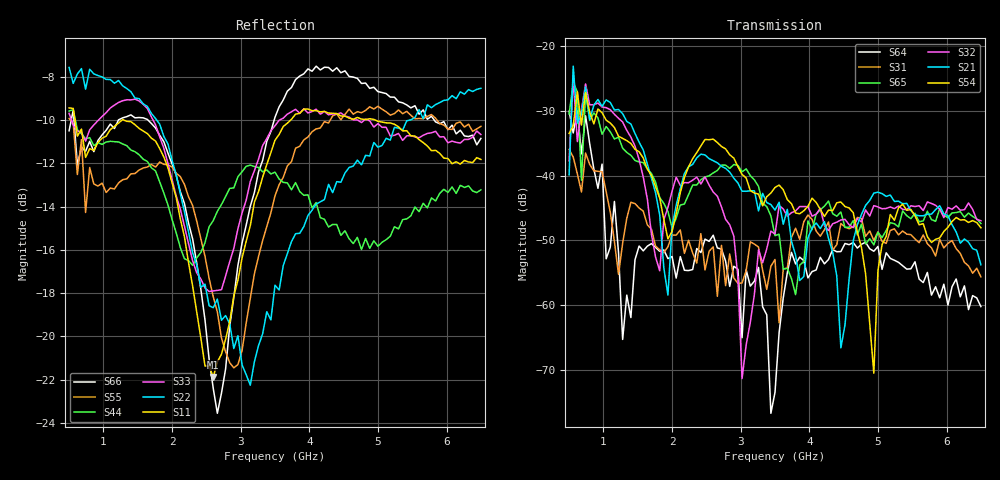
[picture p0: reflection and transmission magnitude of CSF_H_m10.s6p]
!Keysight Technologies,M9804A,MY58100912,A.14.10.03
!Date: Thursday, April 27, 2023 10:28:33
!Correction: S11(C  6-Port  )
!S12(C  6-Port  )
!S13(C  6-Port  )
!S14(C  6-Port  )
!S15(C  6-Port  )
!S16(C  6-Port  )
!S21(C  6-Port  )
!S22(C  6-Port  )
!S23(C  6-Port  )
!S24(C  6-Port  )
!S25(C  6-Port  )
!S26(C  6-Port  )
!S31(C  6-Port  )
!S32(C  6-Port  )
!S33(C  6-Port  )
!S34(C  6-Port  )
!S35(C  6-Port  )
!S36(C  6-Port  )
!S41(C  6-Port  )
!S42(C  6-Port  )
!S43(C  6-Port  )
!S44(C  6-Port  )
!S45(C  6-Port  )
!S46(C  6-Port  )
!S51(C  6-Port  )
!S52(C  6-Port  )
!S53(C  6-Port  )
!S54(C  6-Port  )
!S55(C  6-Port  )
!S56(C  6-Port  )
!S61(C  6-Port  )
!S62(C  6-Port  )
!S63(C  6-Port  )
!S64(C  6-Port  )
!S65(C  6-Port  )
!S66(C  6-Port  )
!S6P File: Measurement: :
# Hz S  RI  R 50
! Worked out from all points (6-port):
!   101 points, 500 MHz to 6.5 GHz, reference 50 ohm
!   strongest paths, dB at 500 MHz, 2 GHz, 3.5 GHz, 5 GHz, 6.5 GHz:
!     S54: -33.5, -48.6, -41.8, -54.7, -48.1
!     S21: -39.9, -47.8, -45.3, -42.6, -53.8
!     S32: -37.7, -42.4, -49.0, -44.8, -47.0
!     S65: -30.5, -48.1, -49.3, -48.8, -47.4
!     S31: -36.0, -49.2, -53.0, -48.7, -55.6
!     S64: -30.0, -52.5, -73.5, -50.9, -60.2
!   lowest |S11| = -21.9 dB at 2.6 GHz (marker M1), VSWR 1.18, Z = 42.8 + j1.97 ohm
!   |S11| at or under -10 dB: 585.4 MHz to 1.269 GHz (683.1 MHz wide, 73.7 % of centre); 1.303 GHz to 3.726 GHz (2.423 GHz wide, 96.4 % of centre); 4.966 GHz to end of sweep
